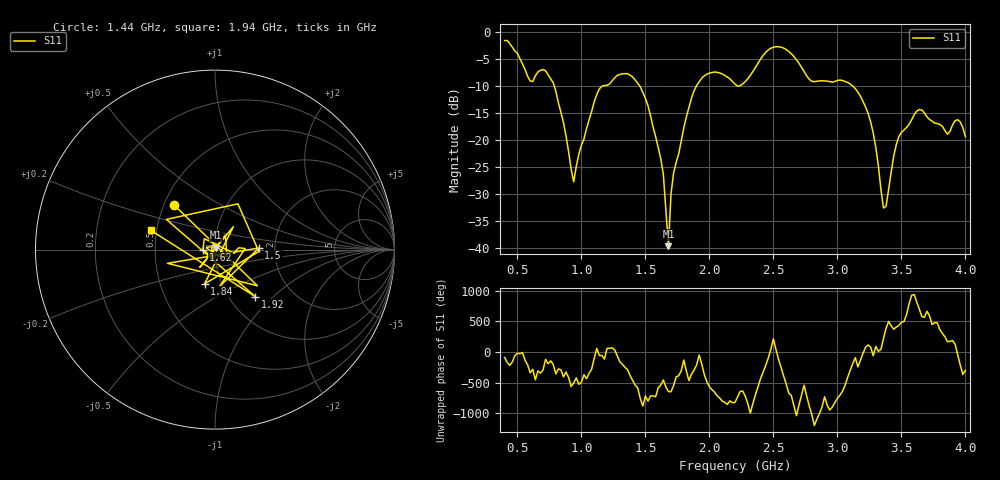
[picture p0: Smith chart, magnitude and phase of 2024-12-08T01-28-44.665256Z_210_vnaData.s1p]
!Created with skrf (http://scikit-rf.org).
# Hz S RI R 50.0
!freq ReS11 ImS11
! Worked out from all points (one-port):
!   181 points, 400 MHz to 4 GHz, reference 50 ohm
!   lowest |S11| = -39.6 dB at 1.68 GHz (marker M1), VSWR 1.02, Z = 50.3 + j1.01 ohm
!   |S11| at or under -10 dB: 787.8 MHz to 1.165 GHz (377.6 MHz wide, 38.7 % of centre); 1.456 GHz to 1.898 GHz (442.8 MHz wide, 26.4 % of centre); 3.121 GHz to end of sweep (the widest 3 of 4)
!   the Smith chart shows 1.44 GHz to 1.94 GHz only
!   S11 on the Smith chart (normalised r, x): 1.44 GHz: 0.57, +0.32; 1.5 GHz: 1.64, +0.03; 1.62 GHz: 0.87, -0.00; 1.84 GHz: 0.83, -0.33; 1.92 GHz: 1.32, -0.78; 1.94 GHz: 0.46, +0.12
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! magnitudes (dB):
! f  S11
! 400 MHz  -1.6
! 600 MHz  -9.1
! 720 MHz  -7.2
! 860 MHz  -16.8
! 940 MHz  -27.7
! 1.12 GHz  -11.6
! 1.3 GHz  -7.9
! 1.44 GHz  -9.5
! 1.5 GHz  -12.3
! 1.62 GHz  -23.4
! 1.64 GHz  -26.3
! 1.68 GHz  -39.6
! 1.7 GHz  -30.0
! 1.76 GHz  -22.5
! 1.84 GHz  -14.0
! 1.92 GHz  -9.2
! 1.94 GHz  -8.6
! 2.2 GHz  -9.6
! 2.48 GHz  -3.0
! 2.66 GHz  -4.6
! 2.8 GHz  -9.1
! 3.1 GHz  -9.6
! 3.26 GHz  -16.6
! 3.36 GHz  -32.5
! 3.46 GHz  -20.8
! 3.56 GHz  -17.1
! 3.66 GHz  -14.4
! 4 GHz  -19.3
